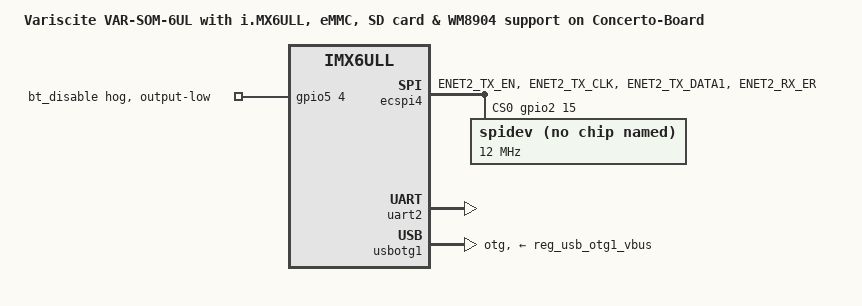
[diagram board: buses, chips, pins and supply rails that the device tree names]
/*
 * Copyright (C) 2024 Variscite Ltd. - https://www.variscite.com
 *
 * This program is free software; you can redistribute it and/or modify
 * it under the terms of the GNU General Public License version 2 as
 * published by the Free Software Foundation.
 */

/dts-v1/;

#include "imx6ull.dtsi"

#include "imx6ull-var-som.dtsi"
#include "imx6ul-imx6ull-var-som-emmc.dtsi"

#include "imx6ull-var-som-concerto-board.dtsi"
#include "imx6ul-imx6ull-var-som-concerto-board-sd-card.dtsi"

/ {
	model = "Variscite VAR-SOM-6UL with i.MX6ULL, eMMC, SD card & WM8904 support on Concerto-Board";
	compatible = "variscite,imx6ul-var-som", "fsl,imx6ull";
    regulators {
        compatible = "simple-bus";
        #address-cells = <1>;
        #size-cells = <0>;
    };

};
&ecspi4 {
	fsl,spi-num-chipselects = <1>;
	cs-gpios = <&gpio2 15 0>;
	pinctrl-names = "default";
	pinctrl-0 = <&pinctrl_ecspi4>;
	status = "okay";

	spidev@0 {
               compatible = "var,spidev";
               spi-max-frequency = <12000000>;
               reg = <0>;
        };
};
&iomuxc {
	pinctrl_ecspi4: ecspi4grp {
		fsl,pins = <
			MX6UL_PAD_ENET2_TX_EN__ECSPI4_MOSI	0x100b1 /* from J16.8 */
			MX6UL_PAD_ENET2_TX_CLK__ECSPI4_MISO	0x100b1 /* from J16.6 */
			MX6UL_PAD_ENET2_TX_DATA1__ECSPI4_SCLK	0x100b1 /* from J16.2 */
			MX6UL_PAD_ENET2_RX_ER__GPIO2_IO15	0x100b1 /* from J16.4 */
		>;
	};

};

&gpio5 {
    bt_disable {
        gpio-hog;
        gpios = <4 GPIO_ACTIVE_HIGH>;
        output-low;  /* Pull GPIO5[4] LOW to disable BT */
        line-name = "bt_disable";
    };
};

&uart2 {
    pinctrl-names = "default";
    pinctrl-0 = <&pinctrl_uart2>;
    fsl,uart-has-rtscts;
    status = "okay";
};
&usbotg1 {
    vbus-supply = <&reg_usb_otg1_vbus>;
    pinctrl-names = "default";
    dr_mode = "otg";
    status = "okay";
};

